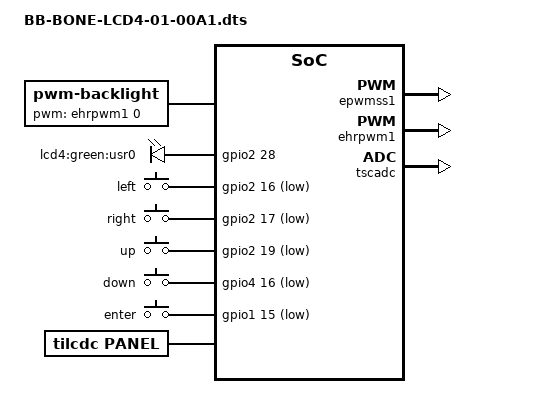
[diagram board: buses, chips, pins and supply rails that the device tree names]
/*
 * Copyright (C) 2012 Texas Instruments Incorporated - http://www.ti.com/
 *
 * This program is free software; you can redistribute it and/or modify
 * it under the terms of the GNU General Public License version 2 as
 * published by the Free Software Foundation.
 */
/dts-v1/;
/plugin/;

/ {
	compatible = "ti,beaglebone", "ti,beaglebone-black";

	/* identification */
	part-number = "BB-BONE-LCD4-01";
	version = "00A1";

	/* state the resources this cape uses */
	exclusive-use =
		/* the pin header uses */
		"P8.45",	/* lcd: lcd_data0 */
		"P8.46",	/* lcd: lcd_data1 */
		"P8.43",	/* lcd: lcd_data2 */
		"P8.44",	/* lcd: lcd_data3 */
		"P8.41",	/* lcd: lcd_data4 */
		"P8.42",	/* lcd: lcd_data5 */
		"P8.39",	/* lcd: lcd_data6 */
		"P8.40",	/* lcd: lcd_data7 */
		"P8.37",	/* lcd: lcd_data8 */
		"P8.38",	/* lcd: lcd_data9 */
		"P8.36",	/* lcd: lcd_data10 */
		"P8.34",	/* lcd: lcd_data11 */
		"P8.35",	/* lcd: lcd_data12 */
		"P8.33",	/* lcd: lcd_data13 */
		"P8.31",	/* lcd: lcd_data14 */
		"P8.32",	/* lcd: lcd_data15 */
		"P8.27",	/* lcd: lcd_vsync */
		"P8.29",	/* lcd: lcd_hsync */
		"P8.28",	/* lcd: lcd_pclk */
		"P8.30",	/* lcd: lcd_ac_bias_en */
		"P9.27",	/* lcd: gpio3_19 */
		"P9.12",	/* led: gpio1_28 */
		"P9.14",	/* pwm: ehrpwm1a */
		"P9.15",	/* keys: gpio1_16 */
		"P9.23",	/* keys: gpio1_17 */
		"P9.16",	/* keys: gpio1_19 */
		"P9.21",	/* keys: gpio0_3 */
		/* the hardware IP uses */
		"gpio3_19",
		"gpio1_28",
		"gpio1_16",
		"gpio1_17",
		"gpio1_19",
		"gpio0_3",
		"lcd",
		"ehrpwm1a";

	fragment@0 {
		target = <&am33xx_pinmux>;
		__overlay__ {

			bone_lcd4_cape_led_00A1_pins: pinmux_bone_lcd4_cape_led_00A1_pins {
				pinctrl-single,pins = <
					0x078 0x2f      /* gpmc_be1n.gpio1_28, INPUT | PULLDIS | MODE7 */
				>;
			};

			pwm_bl_pins: pinmux_pwm_bl_pins {
				pinctrl-single,pins = <
					0x48 0x06       /* gpmc_a2.ehrpwm1a, OMAP_MUX_MODE6 | AM33XX_PIN_OUTPUT */
				>;
			};

			bone_lcd4_cape_lcd_pins: pinmux_bone_lcd4_cape_lcd_pins {
				pinctrl-single,pins = <
					0xa0 0x08	/* lcd_data0.lcd_data0, OMAP_MUX_MODE0 | AM33XX_PIN_OUTPUT | AM33XX_PULL_DISA */
					0xa4 0x08	/* lcd_data1.lcd_data1, OMAP_MUX_MODE0 | AM33XX_PIN_OUTPUT | AM33XX_PULL_DISA */
					0xa8 0x08	/* lcd_data2.lcd_data2, OMAP_MUX_MODE0 | AM33XX_PIN_OUTPUT | AM33XX_PULL_DISA */
					0xac 0x08	/* lcd_data3.lcd_data3, OMAP_MUX_MODE0 | AM33XX_PIN_OUTPUT | AM33XX_PULL_DISA */
					0xb0 0x08	/* lcd_data4.lcd_data4, OMAP_MUX_MODE0 | AM33XX_PIN_OUTPUT | AM33XX_PULL_DISA */
					0xb4 0x08	/* lcd_data5.lcd_data5, OMAP_MUX_MODE0 | AM33XX_PIN_OUTPUT | AM33XX_PULL_DISA */
					0xb8 0x08	/* lcd_data6.lcd_data6, OMAP_MUX_MODE0 | AM33XX_PIN_OUTPUT | AM33XX_PULL_DISA */
					0xbc 0x08	/* lcd_data7.lcd_data7, OMAP_MUX_MODE0 | AM33XX_PIN_OUTPUT | AM33XX_PULL_DISA */
					0xc0 0x08	/* lcd_data8.lcd_data8, OMAP_MUX_MODE0 | AM33XX_PIN_OUTPUT | AM33XX_PULL_DISA */
					0xc4 0x08	/* lcd_data9.lcd_data9, OMAP_MUX_MODE0 | AM33XX_PIN_OUTPUT | AM33XX_PULL_DISA */
					0xc8 0x08	/* lcd_data10.lcd_data10, OMAP_MUX_MODE0 | AM33XX_PIN_OUTPUT | AM33XX_PULL_DISA */
					0xcc 0x08	/* lcd_data11.lcd_data11, OMAP_MUX_MODE0 | AM33XX_PIN_OUTPUT | AM33XX_PULL_DISA */
					0xd0 0x08	/* lcd_data12.lcd_data12, OMAP_MUX_MODE0 | AM33XX_PIN_OUTPUT | AM33XX_PULL_DISA */
					0xd4 0x08	/* lcd_data13.lcd_data13, OMAP_MUX_MODE0 | AM33XX_PIN_OUTPUT | AM33XX_PULL_DISA */
					0xd8 0x08	/* lcd_data14.lcd_data14, OMAP_MUX_MODE0 | AM33XX_PIN_OUTPUT | AM33XX_PULL_DISA */
					0xdc 0x08	/* lcd_data15.lcd_data15, OMAP_MUX_MODE0 | AM33XX_PIN_OUTPUT | AM33XX_PULL_DISA */
					0xe0 0x00	/* lcd_vsync.lcd_vsync, OMAP_MUX_MODE0 | AM33XX_PIN_OUTPUT */
					0xe4 0x00	/* lcd_hsync.lcd_hsync, OMAP_MUX_MODE0 | AM33XX_PIN_OUTPUT */
					0xe8 0x00	/* lcd_pclk.lcd_pclk, OMAP_MUX_MODE0 | AM33XX_PIN_OUTPUT */
					0xec 0x00	/* lcd_ac_bias_en.lcd_ac_bias_en, OMAP_MUX_MODE0 | AM33XX_PIN_OUTPUT */
					0x1a4 0x17	/* mcasp0_fsr.gpio3_19, OUTPUT | MODE7  LCD DISEN */
				>;
			};

			bone_lcd4_cape_keys_00A2_pins: pinmux_bone_lcd4_cape_keys_00A2_pins {
				pinctrl-single,pins = <
					0x040 0x2f	/* gpmc_a0.gpio1_16, INPUT | PULLDIS | MODE7 */
					0x044 0x2f	/* gpmc_a1.gpio1_17, INPUT | PULLDIS | MODE7 */
					0x04c 0x2f 	/* gpmc_a3.gpio1_19, INPUT | PULLDIS | MODE7 */
					0x154 0x2f	/* P9_21 spi0_d0.gpio0_3 INPUT | PULLDIS | MODE7 */
				>;
			};

		};
	};

	fragment@1 {
		target = <&epwmss1>;
		__overlay__ {
			status = "okay";
		};
	};

	fragment@2 {
		target = <&ehrpwm1>;
		__overlay__ {
			status = "okay";
		};
	};

	fragment@3 {
		target = <&ocp>;

		__overlay__ {

			/* avoid stupid warning */
			#address-cells = <1>;
			#size-cells = <1>;

			backlight {
				compatible      = "pwm-backlight";
				pinctrl-names   = "default";
				pinctrl-0       = <&pwm_bl_pins>;

				pwms = <&ehrpwm1 0 500000 0>;
				pwm-names = "LCD4";
				brightness-levels = <0 1 2 3 4 5 6 7 8 9 10 11 12 13 14 15 16 17 18 19 20 21 22 23 24 25 26 27 28 29 30 31 32 33 34 35 36 37 38 39 40 41 42 43 44 45 46 47 48 49 50 51 52 53 54 55 56 57 58 59 60 61 62 63 64 65 66 67 68 69 70 71 72 73 74 75 76 77 78 79 80 81 82 83 84 85 86 87 88 89 90 91 92 93 94 95 96 97 98 99 100>;
				default-brightness-level = <101>; /* index to the array above */
				status = "okay";
			};

			tscadc {
				compatible = "ti,ti-tscadc";
				reg = <0x44e0d000 0x1000>;

				interrupt-parent = <&intc>;
				interrupts = <16>;
				ti,hwmods = "adc_tsc";
				status = "okay";

				tsc {
					ti,wires = <4>;
					ti,x-plate-resistance = <200>;
					ti,coordinate-readouts = <5>;
					ti,wire-config = <0x00 0x11 0x22 0x33>;
				};

				adc {
					ti,adc-channels = <4>;
				};
			};

			gpio-leds-cape-lcd4 {
				compatible = "gpio-leds";
				pinctrl-names = "default";

				pinctrl-0 = <&bone_lcd4_cape_led_00A1_pins>;

				lcd4-led0 {
					label = "lcd4:green:usr0";
					gpios = <&gpio2 28 0>;
					linux,default-trigger = "heartbeat";
					default-state = "off";
				};

			};

			gpio_keys {
				compatible = "gpio-keys";
				pinctrl-names = "default";
				pinctrl-0 = <&bone_lcd4_cape_keys_00A2_pins>;

				#address-cells = <1>;
				#size-cells = <0>;

				button@1 {
					debounce_interval = <50>;
					linux,code = <105>;
					label = "left";
					gpios = <&gpio2 16 0x1>;
					gpio-key,wakeup;
					autorepeat;
				};
				button@2 {
					debounce_interval = <50>;
					linux,code = <106>;
					label = "right";
					gpios = <&gpio2 17 0x1>;
					gpio-key,wakeup;
					autorepeat;
				};
				button@3 {
					debounce_interval = <50>;
					linux,code = <103>;
					label = "up";
					gpios = <&gpio2 19 0x1>;
					gpio-key,wakeup;
					autorepeat;
				};
				button@4 {
					debounce_interval = <50>;
					linux,code = <108>;
					label = "down";
					gpios = <&gpio4 16 0x1>;
					gpio-key,wakeup;
					autorepeat;
				};
				button@5 {
					debounce_interval = <50>;
					linux,code = <28>;
					label = "enter";
					gpios = <&gpio1 15 0x1>;
					gpio-key,wakeup;
				};
			};

			/* Settings for NHD-4.3-ATXI#-T-1 / LCD4 cape: */
			panel {
				compatible = "tilcdc,panel";
				pinctrl-names = "default";
				pinctrl-0 = <&bone_lcd4_cape_lcd_pins>;
				panel-info {
					ac-bias           = <255>;
					ac-bias-intrpt    = <0>;
					dma-burst-sz      = <16>;
					bpp               = <24>;
					fdd               = <0x80>;
					tft-alt-mode      = <0>;
					stn-565-mode      = <0>;
					mono-8bit-mode    = <0>;
					sync-edge         = <0>;
					sync-ctrl         = <1>;
					raster-order      = <0>;
					fifo-th           = <0>;
				};
				display-timings {
					native-mode = <&timing0>;
					timing0: 480x272 {
						hactive         = <480>;
						vactive         = <272>;
						hback-porch     = <44>;
						hfront-porch    = <9>;
						hsync-len       = <5>;
						vback-porch     = <13>;
						vfront-porch    = <4>;
						vsync-len       = <10>;
						clock-frequency = <9000000>;
						hsync-active    = <0>;
						vsync-active    = <0>;
					};
				};
			};

			fb {
				compatible = "ti,am33xx-tilcdc";
				reg = <0x4830e000 0x1000>;
				interrupt-parent = <&intc>;
				interrupts = <36>;
				ti,hwmods = "lcdc";
			};

		};
	};
};
